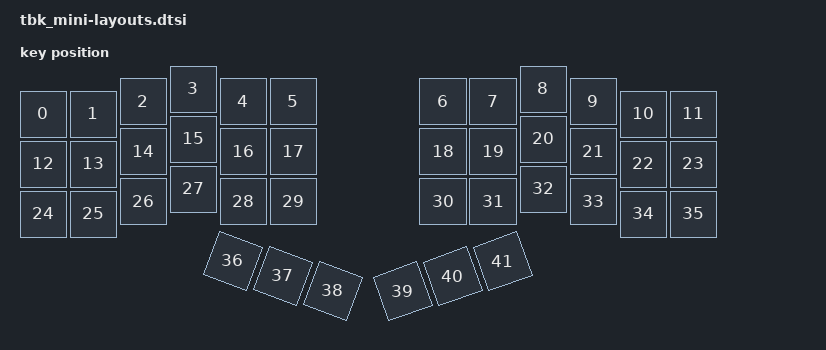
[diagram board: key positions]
#include <physical_layouts.dtsi>

/ {
    physical_layout_tbk_mini: physical_layout_tbk_mini {
        compatible = "zmk,physical-layout";
        display-name = "TBK-mini";
        keys  //                     w   h    x    y     rot    rx    ry
            = <&key_physical_attrs 100 100    0   50       0     0    50>
            , <&key_physical_attrs 100 100  100   50       0   100    50>
            , <&key_physical_attrs 100 100  200   25       0   200    25>
            , <&key_physical_attrs 100 100  300    0       0   300     0>
            , <&key_physical_attrs 100 100  400   25       0   400    25>
            , <&key_physical_attrs 100 100  500   25       0   500    25>
            , <&key_physical_attrs 100 100  800   25       0   800    25>
            , <&key_physical_attrs 100 100  900   25       0   900    25>
            , <&key_physical_attrs 100 100 1000    0       0  1000     0>
            , <&key_physical_attrs 100 100 1100   25       0  1100    25>
            , <&key_physical_attrs 100 100 1200   50       0  1200    50>
            , <&key_physical_attrs 100 100 1300   50       0  1300    50>
            , <&key_physical_attrs 100 100    0  150       0     0   150>
            , <&key_physical_attrs 100 100  100  150       0   100   150>
            , <&key_physical_attrs 100 100  200  125       0   200   125>
            , <&key_physical_attrs 100 100  300  100       0   300   100>
            , <&key_physical_attrs 100 100  400  125       0   400   125>
            , <&key_physical_attrs 100 100  500  125       0   500   125>
            , <&key_physical_attrs 100 100  800  125       0   800   125>
            , <&key_physical_attrs 100 100  900  125       0   900   125>
            , <&key_physical_attrs 100 100 1000  100       0  1000   100>
            , <&key_physical_attrs 100 100 1100  125       0  1100   125>
            , <&key_physical_attrs 100 100 1200  150       0  1200   150>
            , <&key_physical_attrs 100 100 1300  150       0  1300   150>
            , <&key_physical_attrs 100 100    0  250       0     0   250>
            , <&key_physical_attrs 100 100  100  250       0   100   250>
            , <&key_physical_attrs 100 100  200  225       0   200   225>
            , <&key_physical_attrs 100 100  300  200       0   300   200>
            , <&key_physical_attrs 100 100  400  225       0   400   225>
            , <&key_physical_attrs 100 100  500  225       0   500   225>
            , <&key_physical_attrs 100 100  800  225       0   800   225>
            , <&key_physical_attrs 100 100  900  225       0   900   225>
            , <&key_physical_attrs 100 100 1000  200       0  1000   200>
            , <&key_physical_attrs 100 100 1100  225       0  1100   225>
            , <&key_physical_attrs 100 100 1200  250       0  1200   250>
            , <&key_physical_attrs 100 100 1300  250       0  1300   250>
            , <&key_physical_attrs 100 100  400  330    2000   400   330>
            , <&key_physical_attrs 100 100  500  360    2000   500   360>
            , <&key_physical_attrs 100 100  600  390    2000   600   390>
            , <&key_physical_attrs 100 100  705  425   34000   705   425>
            , <&key_physical_attrs 100 100  805  395   34000   805   395>
            , <&key_physical_attrs 100 100  905  365   34000   905   365>
            ;
    };
};
